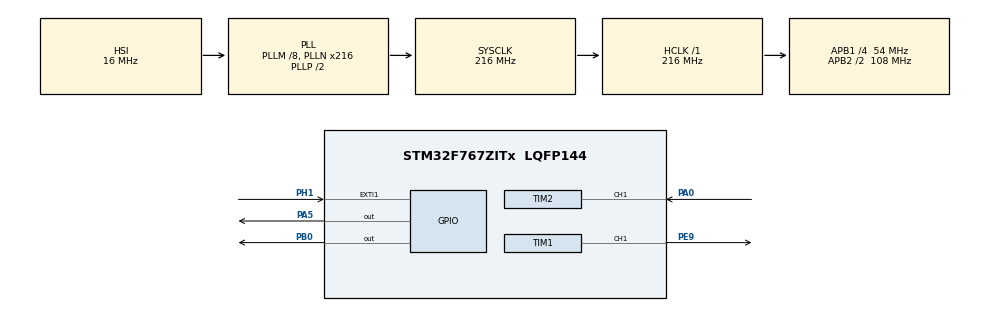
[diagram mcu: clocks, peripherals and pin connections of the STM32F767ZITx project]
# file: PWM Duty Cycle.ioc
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Mcu.Family=STM32F7
Mcu.Name=STM32F767ZITx
Mcu.Package=LQFP144
NVIC.PriorityGroup=NVIC_PRIORITYGROUP_4
PA0/WKUP.Signal=S_TIM2_CH1_ETR
PA5.Signal=GPIO_Output
PB0.Signal=GPIO_Output
PE9.Signal=S_TIM1_CH1
PH1/OSC_OUT.Signal=GPXTI1
ProjectManager.HeapSize=0x200
ProjectManager.StackSize=0x400
ProjectManager.TargetToolchain=STM32CubeIDE
RCC.AHBFreq_Value=216000000
RCC.APB1CLKDivider=RCC_HCLK_DIV4
RCC.APB1Freq_Value=54000000
RCC.APB1TimFreq_Value=108000000
RCC.APB2CLKDivider=RCC_HCLK_DIV2
RCC.APB2Freq_Value=108000000
RCC.APB2TimFreq_Value=216000000
RCC.CortexFreq_Value=216000000
RCC.HCLKFreq_Value=216000000
RCC.HSE_VALUE=5000000
RCC.HSI_VALUE=16000000
RCC.LSE_VALUE=32768
RCC.PLLM=8
RCC.PLLN=216
RCC.SYSCLKFreq_VALUE=216000000
RCC.SYSCLKSource=RCC_SYSCLKSOURCE_PLLCLK
RCC.USBFreq_Value=216000000
RCC.VCOOutputFreq_Value=432000000
SH.S_TIM1_CH1.0=TIM1_CH1,PWM Generation1 CH1
SH.S_TIM2_CH1_ETR.0=TIM2_CH1,PWM_Input_1
TIM1.Channel-PWM\ Generation1\ CH1=TIM_CHANNEL_1
TIM1.Prescaler=4320
VP_TIM1_VS_ClockSourceINT.Mode=Internal
VP_TIM2_VS_ClockSourceINT.Mode=Internal
board=custom

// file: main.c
/* USER CODE BEGIN Header */
/**
  ******************************************************************************
  * @file           : main.c
  * @brief          : Main program body
  ******************************************************************************
  * @attention
  *
  * <h2><center>&copy; Copyright (c) 2021 STMicroelectronics.
  * All rights reserved.</center></h2>
  *
  * This software component is licensed by ST under BSD 3-Clause license,
  * the "License"; You may not use this file except in compliance with the
  * License. You may obtain a copy of the License at:
  *                        opensource.org/licenses/BSD-3-Clause
  *
  ******************************************************************************
  */
/* USER CODE END Header */
#include "main.h"

TIM_HandleTypeDef htim1;
TIM_HandleTypeDef htim2;

void SystemClock_Config(void);
static void MX_GPIO_Init(void);
static void MX_TIM1_Init(void);
static void MX_TIM2_Init(void);

/* USER CODE BEGIN 0 */
uint32_t frequency = 0;
uint32_t icValue = 0;
volatile float x = 5;
volatile float duty = 0;

void HAL_TIM_IC_CaptureCallback(TIM_HandleTypeDef *htim)
{

	x = 1;

	if(htim->Channel == HAL_TIM_ACTIVE_CHANNEL_1) //detects if there is a rising edge
	{
		icValue = HAL_TIM_ReadCapturedValue(htim,  TIM_CHANNEL_1); // finds the first rising edge

		if(icValue != 0)
		{
			duty = (HAL_TIM_ReadCapturedValue(htim, TIM_CHANNEL_2) *100)/ icValue; //finds the second rising edge
			frequency = 5000000/ icValue;
		}
	}

}

/* USER CODE END 0 */

int main(void)
{

  /* MCU Configuration--------------------------------------------------------*/

  /* Reset of all peripherals, Initializes the Flash interface and the Systick. */
  HAL_Init();

  /* Configure the system clock */
  SystemClock_Config();

  /* Initialize all configured peripherals */
  MX_GPIO_Init();
  MX_TIM1_Init();
  MX_TIM2_Init();
  /* USER CODE BEGIN 2 */

  HAL_TIM_IC_Start_IT(&htim2, TIM_CHANNEL_1);   // main channel
  HAL_TIM_IC_Start(&htim2, TIM_CHANNEL_2);   // indirect channel

//  /HAL_TIM_PWM_Start(&htim2, TIM_CHANNEL_1);  //starts the PWM signal generation in Timer Channel 1
//  HAL_TIM_PWM_Start(&htim2, TIM_CHANNEL_2); // starts the PWM Signal Generation in Timer Channel 2
//  HAL_TIM_PWM_Start(&htim1, TIM_CHANNEL_1); // starts the PWM signal generation in timer 1 channel 1

  TIM1->CCR1 = 900;
  HAL_GPIO_WritePin(GPIOB, GPIO_PIN_0, GPIO_PIN_SET);
  HAL_Delay(1000);
  // LED OFF
  HAL_GPIO_WritePin(GPIOB, GPIO_PIN_0, GPIO_PIN_RESET);
  HAL_Delay(1000);

  /* USER CODE END 2 */

  /* Infinite loop */
  /* USER CODE BEGIN WHILE */
  while (1)
  {

	  x = 2;

	  if (duty >7.2 )
	  {
		  HAL_GPIO_WritePin(GPIOB, GPIO_PIN_0, GPIO_PIN_SET);
	  }

	  else
	  {
		  HAL_GPIO_WritePin(GPIOB, GPIO_PIN_0, GPIO_PIN_RESET);
	  }

    /* USER CODE END WHILE */

  }
}

void SystemClock_Config(void)
{
  RCC_OscInitTypeDef RCC_OscInitStruct = {0};
  RCC_ClkInitTypeDef RCC_ClkInitStruct = {0};

  /** Configure the main internal regulator output voltage
  */
  __HAL_RCC_PWR_CLK_ENABLE();
  __HAL_PWR_VOLTAGESCALING_CONFIG(PWR_REGULATOR_VOLTAGE_SCALE1);
  /** Initializes the RCC Oscillators according to the specified parameters
  * in the RCC_OscInitTypeDef structure.
  */
  RCC_OscInitStruct.OscillatorType = RCC_OSCILLATORTYPE_HSI;
  RCC_OscInitStruct.HSIState = RCC_HSI_ON;
  RCC_OscInitStruct.HSICalibrationValue = RCC_HSICALIBRATION_DEFAULT;
  RCC_OscInitStruct.PLL.PLLState = RCC_PLL_ON;
  RCC_OscInitStruct.PLL.PLLSource = RCC_PLLSOURCE_HSI;
  RCC_OscInitStruct.PLL.PLLM = 8;
  RCC_OscInitStruct.PLL.PLLN = 216;
  RCC_OscInitStruct.PLL.PLLP = RCC_PLLP_DIV2;
  RCC_OscInitStruct.PLL.PLLQ = 2;
  RCC_OscInitStruct.PLL.PLLR = 2;
  if (HAL_RCC_OscConfig(&RCC_OscInitStruct) != HAL_OK)
  {
    Error_Handler();
  }
  /** Activate the Over-Drive mode
  */
  if (HAL_PWREx_EnableOverDrive() != HAL_OK)
  {
    Error_Handler();
  }
  /** Initializes the CPU, AHB and APB buses clocks
  */
  RCC_ClkInitStruct.ClockType = RCC_CLOCKTYPE_HCLK|RCC_CLOCKTYPE_SYSCLK
                              |RCC_CLOCKTYPE_PCLK1|RCC_CLOCKTYPE_PCLK2;
  RCC_ClkInitStruct.SYSCLKSource = RCC_SYSCLKSOURCE_PLLCLK;
  RCC_ClkInitStruct.AHBCLKDivider = RCC_SYSCLK_DIV1;
  RCC_ClkInitStruct.APB1CLKDivider = RCC_HCLK_DIV4;
  RCC_ClkInitStruct.APB2CLKDivider = RCC_HCLK_DIV2;

  if (HAL_RCC_ClockConfig(&RCC_ClkInitStruct, FLASH_LATENCY_7) != HAL_OK)
  {
    Error_Handler();
  }
}

static void MX_TIM1_Init(void)
{

  TIM_ClockConfigTypeDef sClockSourceConfig = {0};
  TIM_MasterConfigTypeDef sMasterConfig = {0};
  TIM_OC_InitTypeDef sConfigOC = {0};
  TIM_BreakDeadTimeConfigTypeDef sBreakDeadTimeConfig = {0};

  htim1.Instance = TIM1;
  htim1.Init.Prescaler = 4320;
  htim1.Init.CounterMode = TIM_COUNTERMODE_UP;
  htim1.Init.Period = 65535;
  htim1.Init.ClockDivision = TIM_CLOCKDIVISION_DIV1;
  htim1.Init.RepetitionCounter = 0;
  htim1.Init.AutoReloadPreload = TIM_AUTORELOAD_PRELOAD_DISABLE;
  if (HAL_TIM_Base_Init(&htim1) != HAL_OK)
  {
    Error_Handler();
  }
  sClockSourceConfig.ClockSource = TIM_CLOCKSOURCE_INTERNAL;
  if (HAL_TIM_ConfigClockSource(&htim1, &sClockSourceConfig) != HAL_OK)
  {
    Error_Handler();
  }
  if (HAL_TIM_PWM_Init(&htim1) != HAL_OK)
  {
    Error_Handler();
  }
  sMasterConfig.MasterOutputTrigger = TIM_TRGO_RESET;
  sMasterConfig.MasterOutputTrigger2 = TIM_TRGO2_RESET;
  sMasterConfig.MasterSlaveMode = TIM_MASTERSLAVEMODE_DISABLE;
  if (HAL_TIMEx_MasterConfigSynchronization(&htim1, &sMasterConfig) != HAL_OK)
  {
    Error_Handler();
  }
  sConfigOC.OCMode = TIM_OCMODE_PWM1;
  sConfigOC.Pulse = 0;
  sConfigOC.OCPolarity = TIM_OCPOLARITY_HIGH;
  sConfigOC.OCNPolarity = TIM_OCNPOLARITY_HIGH;
  sConfigOC.OCFastMode = TIM_OCFAST_DISABLE;
  sConfigOC.OCIdleState = TIM_OCIDLESTATE_RESET;
  sConfigOC.OCNIdleState = TIM_OCNIDLESTATE_RESET;
  if (HAL_TIM_PWM_ConfigChannel(&htim1, &sConfigOC, TIM_CHANNEL_1) != HAL_OK)
  {
    Error_Handler();
  }
  sBreakDeadTimeConfig.OffStateRunMode = TIM_OSSR_DISABLE;
  sBreakDeadTimeConfig.OffStateIDLEMode = TIM_OSSI_DISABLE;
  sBreakDeadTimeConfig.LockLevel = TIM_LOCKLEVEL_OFF;
  sBreakDeadTimeConfig.DeadTime = 0;
  sBreakDeadTimeConfig.BreakState = TIM_BREAK_DISABLE;
  sBreakDeadTimeConfig.BreakPolarity = TIM_BREAKPOLARITY_HIGH;
  sBreakDeadTimeConfig.BreakFilter = 0;
  sBreakDeadTimeConfig.Break2State = TIM_BREAK2_DISABLE;
  sBreakDeadTimeConfig.Break2Polarity = TIM_BREAK2POLARITY_HIGH;
  sBreakDeadTimeConfig.Break2Filter = 0;
  sBreakDeadTimeConfig.AutomaticOutput = TIM_AUTOMATICOUTPUT_DISABLE;
  if (HAL_TIMEx_ConfigBreakDeadTime(&htim1, &sBreakDeadTimeConfig) != HAL_OK)
  {
    Error_Handler();
  }
  HAL_TIM_MspPostInit(&htim1);

}

static void MX_TIM2_Init(void)
{

  TIM_ClockConfigTypeDef sClockSourceConfig = {0};
  TIM_SlaveConfigTypeDef sSlaveConfig = {0};
  TIM_IC_InitTypeDef sConfigIC = {0};
  TIM_MasterConfigTypeDef sMasterConfig = {0};

  htim2.Instance = TIM2;
  htim2.Init.Prescaler = 0;
  htim2.Init.CounterMode = TIM_COUNTERMODE_UP;
  htim2.Init.Period = 4294967295;
  htim2.Init.ClockDivision = TIM_CLOCKDIVISION_DIV1;
  htim2.Init.AutoReloadPreload = TIM_AUTORELOAD_PRELOAD_DISABLE;
  if (HAL_TIM_Base_Init(&htim2) != HAL_OK)
  {
    Error_Handler();
  }
  sClockSourceConfig.ClockSource = TIM_CLOCKSOURCE_INTERNAL;
  if (HAL_TIM_ConfigClockSource(&htim2, &sClockSourceConfig) != HAL_OK)
  {
    Error_Handler();
  }
  if (HAL_TIM_IC_Init(&htim2) != HAL_OK)
  {
    Error_Handler();
  }
  sSlaveConfig.SlaveMode = TIM_SLAVEMODE_RESET;
  sSlaveConfig.InputTrigger = TIM_TS_TI1FP1;
  sSlaveConfig.TriggerPolarity = TIM_INPUTCHANNELPOLARITY_RISING;
  sSlaveConfig.TriggerPrescaler = TIM_ICPSC_DIV1;
  sSlaveConfig.TriggerFilter = 0;
  if (HAL_TIM_SlaveConfigSynchro(&htim2, &sSlaveConfig) != HAL_OK)
  {
    Error_Handler();
  }
  sConfigIC.ICPolarity = TIM_INPUTCHANNELPOLARITY_RISING;
  sConfigIC.ICSelection = TIM_ICSELECTION_DIRECTTI;
  sConfigIC.ICPrescaler = TIM_ICPSC_DIV1;
  sConfigIC.ICFilter = 0;
  if (HAL_TIM_IC_ConfigChannel(&htim2, &sConfigIC, TIM_CHANNEL_1) != HAL_OK)
  {
    Error_Handler();
  }
  sConfigIC.ICPolarity = TIM_INPUTCHANNELPOLARITY_FALLING;
  sConfigIC.ICSelection = TIM_ICSELECTION_INDIRECTTI;
  if (HAL_TIM_IC_ConfigChannel(&htim2, &sConfigIC, TIM_CHANNEL_2) != HAL_OK)
  {
    Error_Handler();
  }
  sMasterConfig.MasterOutputTrigger = TIM_TRGO_RESET;
  sMasterConfig.MasterSlaveMode = TIM_MASTERSLAVEMODE_DISABLE;
  if (HAL_TIMEx_MasterConfigSynchronization(&htim2, &sMasterConfig) != HAL_OK)
  {
    Error_Handler();
  }

}

static void MX_GPIO_Init(void)
{
  GPIO_InitTypeDef GPIO_InitStruct = {0};

  /* GPIO Ports Clock Enable */
  __HAL_RCC_GPIOH_CLK_ENABLE();
  __HAL_RCC_GPIOA_CLK_ENABLE();
  __HAL_RCC_GPIOB_CLK_ENABLE();
  __HAL_RCC_GPIOE_CLK_ENABLE();

  /*Configure GPIO pin Output Level */
  HAL_GPIO_WritePin(GPIOA, GPIO_PIN_5, GPIO_PIN_RESET);

  /*Configure GPIO pin Output Level */
  HAL_GPIO_WritePin(GPIOB, GPIO_PIN_0, GPIO_PIN_RESET);

  /*Configure GPIO pin : PH1 */
  GPIO_InitStruct.Pin = GPIO_PIN_1;
  GPIO_InitStruct.Mode = GPIO_MODE_IT_RISING;
  GPIO_InitStruct.Pull = GPIO_NOPULL;
  HAL_GPIO_Init(GPIOH, &GPIO_InitStruct);

  /*Configure GPIO pin : PA5 */
  GPIO_InitStruct.Pin = GPIO_PIN_5;
  GPIO_InitStruct.Mode = GPIO_MODE_OUTPUT_PP;
  GPIO_InitStruct.Pull = GPIO_NOPULL;
  GPIO_InitStruct.Speed = GPIO_SPEED_FREQ_LOW;
  HAL_GPIO_Init(GPIOA, &GPIO_InitStruct);

  /*Configure GPIO pin : PB0 */
  GPIO_InitStruct.Pin = GPIO_PIN_0;
  GPIO_InitStruct.Mode = GPIO_MODE_OUTPUT_PP;
  GPIO_InitStruct.Pull = GPIO_NOPULL;
  GPIO_InitStruct.Speed = GPIO_SPEED_FREQ_LOW;
  HAL_GPIO_Init(GPIOB, &GPIO_InitStruct);

}

/* USER CODE BEGIN 4 */

void addNumber(int y)
{
	y = y + 8;
}

/* USER CODE END 4 */

void Error_Handler(void)
{
  __disable_irq();
  while (1)
  {
  }
}

/************************ (C) COPYRIGHT STMicroelectronics *****END OF FILE****/
